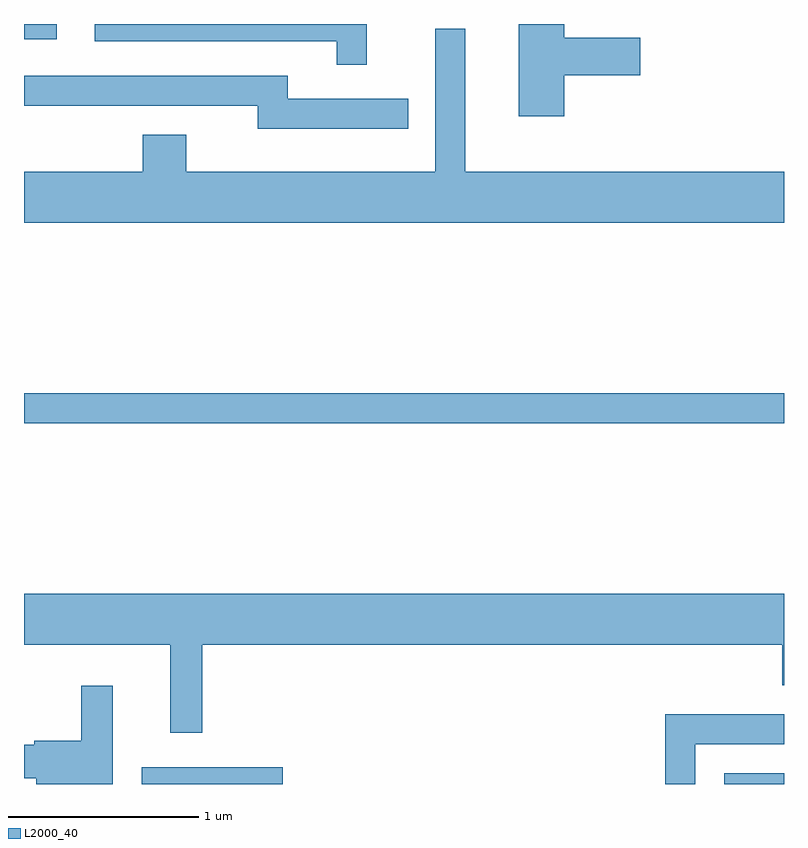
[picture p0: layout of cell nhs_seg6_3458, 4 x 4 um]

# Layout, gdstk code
import gdstk
lib = gdstk.Library(unit=1e-6, precision=1e-09)
def R(c, l, rs):  # rectangles x0, y0, x1, y1
    for r in rs: c.add(gdstk.rectangle(r[:2], r[2:], *l))
def P(c, l, *ps):  # polygons
    for p in ps: c.add(gdstk.Polygon(p, *l))
L2000_40 = (2000, 40)

nhs_seg6_3458 = lib.new_cell('nhs_seg6_3458')
R(nhs_seg6_3458, L2000_40, [(290.231,1578.162,290.974,1578.249), (293.296,1578.162,293.611,1578.219), (289.611,1580.061,293.611,1580.219), (289.611,1582.081,289.783,1582.162)])
P(nhs_seg6_3458, L2000_40, [(292.454,1581.891),(292.854,1581.891),(292.854,1582.089),(292.454,1582.089),(292.454,1582.162),(292.216,1582.162),(292.216,1581.676),(292.454,1581.676)],
  [(291.414,1582.162),(289.983,1582.162),(289.983,1582.071),(291.256,1582.071),(291.256,1581.948),(291.414,1581.948)],
  [(293.611,1581.384),(291.934,1581.384),(291.934,1582.138),(291.776,1582.138),(291.776,1581.384),(290.464,1581.384),(290.464,1581.579),(290.236,1581.579),(290.236,1581.384),(289.611,1581.384),(289.611,1581.116),(293.611,1581.116)],
  [(291.633,1581.769),(290.999,1581.769),(290.999,1581.889),(289.611,1581.889),(289.611,1581.731),(290.841,1581.731),(290.841,1581.611),(291.633,1581.611)],
  [(290.549,1578.896),(293.601,1578.896),(293.601,1578.681),(293.611,1578.681),(293.611,1579.164),(289.611,1579.164),(289.611,1578.896),(290.381,1578.896),(290.381,1578.433),(290.549,1578.433)],
  [(290.079,1578.678),(289.911,1578.678),(289.911,1578.389),(289.666,1578.389),(289.666,1578.369),(289.611,1578.369),(289.611,1578.191),(289.676,1578.191),(289.676,1578.162),(290.079,1578.162)],
  [(293.144,1578.371),(293.611,1578.371),(293.611,1578.529),(292.986,1578.529),(292.986,1578.162),(293.144,1578.162)])

lib.write_gds('nhs_seg6_3458.gds')
